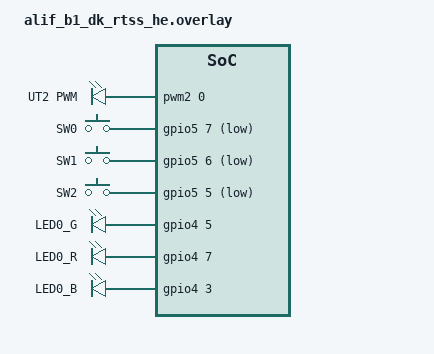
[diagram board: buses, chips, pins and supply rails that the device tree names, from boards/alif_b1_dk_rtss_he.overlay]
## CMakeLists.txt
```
# Copyright (C) 2024 Alif Semiconductor - All Rights Reserved.
# Use, distribution and modification of this code is permitted under the
# terms stated in the Alif Semiconductor Software License Agreement
#
# You should have received a copy of the Alif Semiconductor Software
# License Agreement with this file. If not, please write to:
# contact@alifsemi.com, or visit: https://alifsemi.com/license

cmake_minimum_required(VERSION 3.13.1)

if(CONFIG_CHIP_FACTORY_DATA)
set(EXTRA_DTC_OVERLAY_FILE "b1_factorydata_partition.overlay")
set(OVERLAY_CONFIG "factory_data.conf")
endif()

find_package(Zephyr REQUIRED HINTS $ENV{ZEPHYR_BASE})
project(matter-lighting-switch)

set(CHIP_ROOT ${ZEPHYR_CONNECTEDHOMEIP_MODULE_DIR})
set(ALIF_COMMON ${ZEPHYR_SDK_ALIF_MODULE_DIR}/subsys/matter)
set(MATTER_GEN_DIR ${CHIP_ROOT}/zzz_generated/)

include(${ZEPHYR_CONNECTEDHOMEIP_MODULE_DIR}/config/alif/app/enable-gnu-std.cmake)
include(${ZEPHYR_CONNECTEDHOMEIP_MODULE_DIR}/src/app/chip_data_model.cmake)

# -Wmaybe-uninitialized has too many false positives, including on std::optional
# and chip::Optional.  Make it nonfatal.
#
# See https://gcc.gnu.org/bugzilla/show_bug.cgi?id=80635
target_compile_options(app PRIVATE -Werror -Wno-error=maybe-uninitialized)

target_include_directories(app PRIVATE
                           src/include
                           ${MATTER_GEN_DIR}
                           ${MATTER_GEN_DIR}/app-common
                           ${MATTER_GEN_DIR}/light-switch-app
                           ${ALIF_COMMON}/common
                           ${ALIF_COMMON}/icd
                           ${ALIF_COMMON}/binding)

target_sources(app PRIVATE
               src/main.cpp
               src/AppTask.cpp
               src/LightSwitch.cpp
               src/ShellCommands.cpp
               src/ZclCallbacks.cpp
               ${ALIF_COMMON}/icd/icdHandler.cpp
               ${ALIF_COMMON}/binding/BindingHandler.cpp
               ${ALIF_COMMON}/common/MatterStack.cpp
               ${ALIF_COMMON}/common/MatterUi.cpp
               ${ALIF_COMMON}/common/FabricTableDelegate.cpp)
              

chip_configure_data_model(app
    INCLUDE_SERVER
    ZAP_FILE ${CMAKE_CURRENT_SOURCE_DIR}/src/light-switch-app.zap
)
```

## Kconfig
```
# Copyright(C) 2024 Alif Semiconductor - All Rights Reserved.
# Use, distribution and modification of this code is permitted under the
# terms stated in the Alif Semiconductor Software License Agreement
#
# You should have received a copy of the Alif Semiconductor Software
# License Agreement with this file.If not, please write to:
# contact @alifsemi.com, or visit : https: // alifsemi.com/license

mainmenu "Matter Alif SDK Connect Light switch Example Application with shell test commands"

# Sample configuration used for Thread networking
if NET_L2_OPENTHREAD

choice OPENTHREAD_DEVICE_TYPE
	default OPENTHREAD_FTD
endchoice

endif # NET_L2_OPENTHREAD

rsource "${ZEPHYR_CONNECTEDHOMEIP_MODULE_DIR}/config/alif/chip-module/Kconfig.features"
rsource "${ZEPHYR_CONNECTEDHOMEIP_MODULE_DIR}/config/alif/chip-module/Kconfig.defaults"
source "Kconfig.zephyr"
```

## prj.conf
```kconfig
#  Copyright (C) 2024 Alif Semiconductor - All Rights Reserved.
#  Use, distribution and modification of this code is permitted under the
#  terms stated in the Alif Semiconductor Software License Agreement
#
#  You should have received a copy of the Alif Semiconductor Software
#  License Agreement with this file. If not, please write to:
#  contact@alifsemi.com, or visit: https://alifsemi.com/license

# Enable XIP
CONFIG_XIP=y

# Enable CHIP
CONFIG_CHIP=y
CONFIG_CHIP_PROJECT_CONFIG="src/include/CHIPProjectConfig.h"
# 32772 == 0x8004 (example light-switch-app)
CONFIG_CHIP_DEVICE_PRODUCT_ID=32772
CONFIG_STD_CPP17=y

CONFIG_OPENTHREAD_THREAD_STACK_SIZE=8000
CONFIG_LOG_MODE_DEFERRED=y
CONFIG_LOG=y
CONFIG_SHELL=y
CONFIG_LOG_BUFFER_SIZE=8200

# General networking settings
CONFIG_NET_IF_MCAST_IPV6_ADDR_COUNT=14

# Enable CHIP pairing automatically on application start.
CONFIG_CHIP_ENABLE_PAIRING_AUTOSTART=y
# Matter stack will will enable 15.4 interface 
CONFIG_OPENTHREAD_MANUAL_START=y
# Enable Subscription storage and resume
# After system reset subscribe request are activated a properly automatically
CONFIG_CHIP_PERSISTENT_SUBSCRIPTIONS=y

# OpenThread configuration
CONFIG_NET_L2_OPENTHREAD=y

#Network setup
CONFIG_NET_TCP=y
CONFIG_NET_IPV6_NBR_CACHE=n
CONFIG_NET_IPV6_MLD=n
CONFIG_NET_CONFIG_NEED_IPV4=n

## Openthread parameters
CONFIG_SHELL=y
CONFIG_OPENTHREAD_SHELL=y
CONFIG_SHELL_STACK_SIZE=3072
CONFIG_OPENTHREAD_THREAD_VERSION_1_3=y
CONFIG_OPENTHREAD_FTD=y
CONFIG_OPENTHREAD_PING_SENDER=y


# Bluetooth Low Energy configuration
CONFIG_BT_DEVICE_NAME="MatterSwitch"
CONFIG_BT_DEVICE_NAME_DYNAMIC=n

# BT configuration

CONFIG_BT=y
CONFIG_BT_CENTRAL=y
CONFIG_BT_PERIPHERAL=y
CONFIG_BT_PRIVACY=n
CONFIG_BT_SMP=y
CONFIG_BT_SIGNING=y
CONFIG_BT_ATT_PREPARE_COUNT=2
CONFIG_BT_GATT_CLIENT=y
CONFIG_BT_L2CAP_DYNAMIC_CHANNEL=y
CONFIG_BT_TINYCRYPT_ECC=y
CONFIG_BT_SHELL=y
CONFIG_BT_L2CAP_TX_BUF_COUNT=4
CONFIG_BT_ID_MAX=2
CONFIG_BT_EATT=y
CONFIG_BT_L2CAP_ECRED=y
CONFIG_BT_GATT_DYNAMIC_DB=y
CONFIG_BT_FILTER_ACCEPT_LIST=y
CONFIG_BT_REMOTE_INFO=y
CONFIG_BT_REMOTE_VERSION=y
CONFIG_BT_GATT_AUTO_DISCOVER_CCC=y

CONFIG_BT_EXT_ADV=y
CONFIG_BT_EXT_ADV_LEGACY_SUPPORT=y
CONFIG_BT_PER_ADV=y
CONFIG_BT_PER_ADV_SYNC=y

CONFIG_BT_USER_DATA_LEN_UPDATE=y
CONFIG_BT_AUTO_DATA_LEN_UPDATE=y

CONFIG_BT_USER_PHY_UPDATE=y
CONFIG_BT_AUTO_PHY_UPDATE=y

# Enable the Read Client for binding
CONFIG_CHIP_ENABLE_READ_CLIENT=y

# Other settings
CONFIG_THREAD_NAME=y
CONFIG_CHIP_LIB_SHELL=y

# Flash and Settings storage configutaion
CONFIG_FLASH=y
CONFIG_FLASH_PAGE_LAYOUT=y
CONFIG_FLASH_MAP=y
CONFIG_NVS=y
CONFIG_SETTINGS=y

# Reduce application size
CONFIG_USE_SEGGER_RTT=n

# Disable GET Opt for fix duplicate implementation
CONFIG_GETOPT=n
CONFIG_IEEE802154_ALIF_AHI_MSG_LIB=y

CONFIG_LOG_RUNTIME_FILTERING=n
```

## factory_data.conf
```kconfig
# Enable Factory Data feature
CONFIG_CHIP_FACTORY_DATA=y
CONFIG_CHIP_FACTORY_DATA_BUILD=y
```

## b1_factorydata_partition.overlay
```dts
&mram_storage {
	partitions {
		/delete-node/ partition@0;
                /delete-node/ partition@10000;
                /delete-node/ partition@E2C00;
                /delete-node/ partition@1B5800;
                /delete-node/ partition@1C5800;

		slot0_partition: partition@0 {
			label = "image-0";
			reg = <0x00000000 DT_SIZE_K(1746)>;
		};

                factory_partition: partition@1B4800 {
			label = "factory-data";
			reg = <0x1B4800 0x1000>;
		};

		storage_partition: partition@1B5800 {
			label = "storage";
			reg = <0x001B5800 DT_SIZE_K(10)>;
		};
	};
};
```

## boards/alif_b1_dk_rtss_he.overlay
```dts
/* Copyright (C) 2024 Alif Semiconductor - All Rights Reserved.
 * Use, distribution and modification of this code is permitted under the
 * terms stated in the Alif Semiconductor Software License Agreement
 *
 * You should have received a copy of the Alif Semiconductor Software
 * License Agreement with this file. If not, please write to:
 * contact@alifsemi.com, or visit: https://alifsemi.com/license
 */
#include <dt-bindings/pinctrl/balletto-pinctrl.h>
#include <dt-bindings/gpio/gpio.h>
#include <zephyr/dt-bindings/input/input-event-codes.h>

/* for "buttons" node gpio5_7 & 5_6, enable software pull-up */


&{/} {
	chosen {
		zephyr,console = &uart2;
		zephyr,shell-uart = &uart2;
		zephyr,bt-uart = &uart_hci;
	};

	aliases {
		led0 = &aled1;
		led2 = &aled2;
		pwm-led0 = &pwm_ut2;
		sw0 = &button0;
		sw1 = &button1;
		sw2 = &button2;
	};
	pwmleds {
		compatible = "pwm-leds";
		pwm_ut2: pwm_ut2 {
			pwms = <&pwm2 0 PWM_MSEC(20) PWM_POLARITY_NORMAL>;
			label = "UT2 PWM";
		};
	};
	buttons {
		compatible = "gpio-keys";
		button0: button_0 {
			gpios = < &gpio5 7 GPIO_ACTIVE_LOW >;
			label = "SW0";
			zephyr,code = <INPUT_KEY_0>;
		};
		button1: button_1 {
			gpios = < &gpio5 6 GPIO_ACTIVE_LOW >;
			label = "SW1";
			zephyr,code = <INPUT_KEY_1>;
		};

		button2: button_2 {
			gpios = < &gpio5 5 GPIO_ACTIVE_LOW >;
			label = "SW2";
			zephyr,code = <INPUT_KEY_1>;
		};
	};

	leds {
		compatible = "gpio-leds";
		aled0: led_0 {
			gpios = <&gpio4 5 0>;
			label = "LED0_G";
		};

		aled1: led_1 {
			gpios = <&gpio4 7 0>;
			label = "LED0_R";
		};

		aled2: led_2 {
			gpios = <&gpio4 3 0>;
			label = "LED0_B";
		};
	};
};

&pinctrl_gpio5 {
	group0 {
		pinmux = < PIN_P5_0__GPIO >,
			 < PIN_P5_1__GPIO >,
			 < PIN_P5_2__GPIO >,
			 < PIN_P5_3__GPIO >,
			 < PIN_P5_4__GPIO >,
			 < PIN_P5_5__GPIO >,
			 < PIN_P5_6__GPIO >,
			 < PIN_P5_7__GPIO >;
		read_enable = < 0x1 >;
	};

	group1 {
		pinmux = < PIN_P5_5__GPIO >,
			 < PIN_P5_6__GPIO >,
			 < PIN_P5_7__GPIO >;
		driver_state_control = <1>;
	};
};
```

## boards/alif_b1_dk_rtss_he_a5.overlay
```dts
/* Copyright (C) 2024 Alif Semiconductor - All Rights Reserved.
 * Use, distribution and modification of this code is permitted under the
 * terms stated in the Alif Semiconductor Software License Agreement
 *
 * You should have received a copy of the Alif Semiconductor Software
 * License Agreement with this file. If not, please write to:
 * contact@alifsemi.com, or visit: https://alifsemi.com/license
 */
#include <dt-bindings/pinctrl/balletto-pinctrl.h>
#include <dt-bindings/gpio/gpio.h>
#include <zephyr/dt-bindings/input/input-event-codes.h>

/* for "buttons" node gpio5_7 & 5_6, enable software pull-up */

&{/} {
	chosen {
		zephyr,console = &uart2;
		zephyr,shell-uart = &uart2;
		zephyr,bt-uart = &uart_hci;
	};

	aliases {
		led0 = &aled1;
		led2 = &aled2;
		pwm-led0 = &pwm_ut2;
		sw0 = &button0;
		sw1 = &button1;
		sw2 = &button2;
	};

	buttons {
		compatible = "gpio-keys";
		button0: button_0 {
			gpios = < &gpio5 7 GPIO_ACTIVE_LOW >;
			label = "SW0";
			zephyr,code = <INPUT_KEY_0>;
		};
		button1: button_1 {
			gpios = < &gpio5 6 GPIO_ACTIVE_LOW >;
			label = "SW1";
			zephyr,code = <INPUT_KEY_1>;
		};

		button2: button_2 {
			gpios = < &gpio5 5 GPIO_ACTIVE_LOW >;
			label = "SW2";
			zephyr,code = <INPUT_KEY_1>;
		};
	};

	leds {
		compatible = "gpio-leds";
		aled0: led_0 {
			gpios = <&gpio4 5 0>;
			label = "LED0_G";
		};

		aled1: led_1 {
			gpios = <&gpio4 7 0>;
			label = "LED0_R";
		};

		aled2: led_2 {
			gpios = <&gpio4 3 0>;
			label = "LED0_B";
		};
	};
		pwmleds {
		compatible = "pwm-leds";
		pwm_ut2: pwm_ut2 {
			pwms = <&pwm2 0 PWM_MSEC(20) PWM_POLARITY_NORMAL>;
			label = "UT2 PWM";
		};
	};
};

&utimer2 {
	status = "okay";
	pwm2: pwm2 {
		pinctrl-0 = < &pinctrl_ut2 >;
		pinctrl-names = "default";
		status = "okay";
	};
};

&pinctrl_gpio5 {
	group0 {
		pinmux = < PIN_P5_0__GPIO >,
			 < PIN_P5_1__GPIO >,
			 < PIN_P5_2__GPIO >,
			 < PIN_P5_3__GPIO >,
			 < PIN_P5_4__GPIO >,
			 < PIN_P5_5__GPIO >,
			 < PIN_P5_6__GPIO >,
			 < PIN_P5_7__GPIO >;
		read_enable = < 0x1 >;
	};

	group1 {
		pinmux = < PIN_P5_5__GPIO >,
			 < PIN_P5_6__GPIO >,
			 < PIN_P5_7__GPIO >;
		driver_state_control = <1>;
	};
};
```

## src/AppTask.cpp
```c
/* Copyright (C) 2024 Alif Semiconductor - All Rights Reserved.
 * Use, distribution and modification of this code is permitted under the
 * terms stated in the Alif Semiconductor Software License Agreement
 *
 * You should have received a copy of the Alif Semiconductor Software
 * License Agreement with this file. If not, please write to:
 * contact@alifsemi.com, or visit: https://alifsemi.com/license
 */

#include "AppTask.h"
#include "AppConfig.h"
#include "LightSwitch.h"
#include "MatterStack.h"
#include "MatterUi.h"

#include "icdHandler.h"
#include <app/InteractionModelEngine.h>

#include <DeviceInfoProviderImpl.h>
#include <app/TestEventTriggerDelegate.h>
#include <app/clusters/identify-server/identify-server.h>
#include <app/server/OnboardingCodesUtil.h>
#include <app/server/Server.h>
#include <credentials/DeviceAttestationCredsProvider.h>
#include <credentials/examples/DeviceAttestationCredsExample.h>
#include <lib/support/CHIPMem.h>
#include <lib/support/CodeUtils.h>
#include <lib/support/SafeInt.h>
#include <platform/CHIPDeviceLayer.h>
#include <system/SystemError.h>

#include <zephyr/kernel.h>
#include <zephyr/logging/log.h>

LOG_MODULE_DECLARE(app, CONFIG_CHIP_APP_LOG_LEVEL);

using namespace ::chip;
using namespace ::chip::app;
using namespace ::chip::Credentials;
using namespace ::chip::DeviceLayer;

namespace
{
constexpr EndpointId kLightDimmerSwitchEndpointId = 1;
constexpr EndpointId kLightGenericSwitchEndpointId = 2;
constexpr EndpointId kLightEndpointId = 1;

constexpr int kAppEventQueueSize = 10;

K_MSGQ_DEFINE(sAppEventQueue, sizeof(AppEvent), kAppEventQueueSize, alignof(AppEvent));

Identify sIdentify = {kLightEndpointId, AppTask::IdentifyStartHandler, AppTask::IdentifyStopHandler,
		      Clusters::Identify::IdentifyTypeEnum::kVisibleIndicator};
// Identify sIdentifyGen = {kLightGenericSwitchEndpointId, AppTask::IdentifyStartHandler, AppTask::IdentifyStopHandler,
// 			Clusters::Identify::IdentifyTypeEnum::kVisibleIndicator};

chip::DeviceLayer::DeviceInfoProviderImpl gExampleDeviceInfoProvider;

CHIP_ERROR DevInit()
{
	LightSwitch::GetInstance().Init(kLightDimmerSwitchEndpointId, kLightGenericSwitchEndpointId);
	gExampleDeviceInfoProvider.SetStorageDelegate(
		&Server::GetInstance().GetPersistentStorage());
	chip::DeviceLayer::SetDeviceInfoProvider(&gExampleDeviceInfoProvider);
	MatterUi::Instance().Init(AppTask::ButtonUpdateHandler);
	return CHIP_NO_ERROR;
}
} // namespace

void AppTask::ButtonUpdateHandler(uint32_t button_state, uint32_t has_changed)
{
	if (has_changed & 1) {
		/* Press Button Update  toggle led when state goes to 0*/
		if (!(button_state & 1)) {
			/* Toggle Light onOff server state */
			LightSwitch::GetInstance().LightOnOffServerControl(LightSwitch::Action::Toggle);
			LightSwitch::GetInstance().LightControl(LightSwitch::Action::Toggle);
		}

	} else if (has_changed & 2) {
		/* Generic functional button */
		if (button_state & 2) {
			LOG_INF("SW1 press");
			LightSwitch::GetInstance().GenericSwitchInitialPress();
		} else {
			LOG_INF("SW1 released");
			LightSwitch::GetInstance().GenericSwitchReleasePress();
		}
	}  else if (has_changed & 4) {
		/* Factory Reset user Button */
		if (button_state & 4) {
			LOG_INF("Factoryreset button pressed");
		} else {
			LOG_INF("Factoryreset button released");
		}
		MatterUi::Instance().AppFactoryResetEventTrig();
	}
}

void AppTask::PostEvent(AppEvent * aEvent)
{
    if (!aEvent) {
        return;
    }
        
    if (k_msgq_put(&sAppEventQueue, aEvent, K_NO_WAIT) != 0) {
        LOG_INF("PostEvent fail");
    }
}

void AppTask::DispatchEvent(const AppEvent * aEvent)
{
    if (!aEvent) {
        return;
    }
    if (aEvent->Handler) {
        aEvent->Handler(aEvent);
    } else {
        LOG_INF("Dropping event without handler");
    }
}

void AppTask::GetEvent(AppEvent * aEvent)
{
    k_msgq_get(&sAppEventQueue, aEvent, K_FOREVER);
}

void AppTask::IdentifyStartHandler(Identify *)
{
	AppEvent event;

	event.Type = AppEventType::IdentifyStart;
	event.Handler = [](const AppEvent *) {
		LOG_INF("Identify start");
		MatterStack::Instance().IdentifyLedState(true);
	};
	PostEvent(&event);
}

void AppTask::IdentifyStopHandler(Identify *)
{
	AppEvent event;

	event.Type = AppEventType::IdentifyStop;
	event.Handler = [](const AppEvent *) {
		LOG_INF("Identify stop");
		MatterStack::Instance().IdentifyLedState(false);
	};
	PostEvent(&event);
}

void AppTask::StartBLEAdvertisementHandler(const AppEvent *)
{
	if (Server::GetInstance().GetFabricTable().FabricCount() != 0) {
		LOG_INF("Matter service BLE advertising not started - device is already "
			"commissioned");
		return;
	}

	if (ConnectivityMgr().IsBLEAdvertisingEnabled()) {
		LOG_INF("BLE advertising is already enabled");
		return;
	}

	if (Server::GetInstance().GetCommissioningWindowManager().OpenBasicCommissioningWindow() !=
	    CHIP_NO_ERROR) {
		LOG_ERR("OpenBasicCommissioningWindow() failed");
	}
}

CHIP_ERROR AppTask::Init()
{
	/* Initialize Matter stack */
	ReturnErrorOnFailure(MatterStack::Instance().matter_stack_init(DevInit));

	chip::app::InteractionModelEngine::GetInstance()->RegisterReadHandlerAppCallback(
		&ICDHandler::Instance());

	/* Start Matter sheduler */
	ReturnErrorOnFailure(MatterStack::Instance().matter_stack_start());

	return CHIP_NO_ERROR;
}

CHIP_ERROR AppTask::StartApp()
{
	ReturnErrorOnFailure(Init());

	AppEvent event = {};

	while (true) {
		GetEvent(&event);
		DispatchEvent(&event);
	}

	return CHIP_NO_ERROR;
}
```

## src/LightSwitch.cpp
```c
/* Copyright (C) 2024 Alif Semiconductor - All Rights Reserved.
 * Use, distribution and modification of this code is permitted under the
 * terms stated in the Alif Semiconductor Software License Agreement
 *
 * You should have received a copy of the Alif Semiconductor Software
 * License Agreement with this file. If not, please write to:
 * contact@alifsemi.com, or visit: https://alifsemi.com/license
 */

#include "LightSwitch.h"
#include "AppEvent.h"
#include "BindingHandler.h"
#include "ShellCommands.h"

#include <app/server/Server.h>
#include <app/util/binding-table.h>
#include <controller/InvokeInteraction.h>
#include <app/clusters/switch-server/switch-server.h>
#include <app/clusters/on-off-server/on-off-server.h>

#include <app-common/zap-generated/attributes/Accessors.h>
#include <zephyr/logging/log.h>
LOG_MODULE_DECLARE(app, CONFIG_CHIP_APP_LOG_LEVEL);

using namespace chip;
using namespace chip::app;
using namespace chip::app::Clusters;

void LightSwitch::Init(chip::EndpointId aLightDimmerSwitchEndpoint, chip::EndpointId aLightGenericSwitchEndpointId)
{
	BindingHandler::GetInstance().Init();

	/* Enable shell commands */
	SwitchCommands::RegisterSwitchCommands();
	mLightSwitchEndpoint = aLightDimmerSwitchEndpoint;
	mLightGenericSwitchEndpointId = aLightGenericSwitchEndpointId;	
}

void LightSwitch::LightOnOffServerControl(Action mAction)
{
	chip::CommandId command;

	switch (mAction) {
	case Action::Toggle:
		command = Clusters::OnOff::Commands::Toggle::Id;
		break;
	case Action::On:
		command = Clusters::OnOff::Commands::On::Id;
		break;

	default:
		command = Clusters::OnOff::Commands::Off::Id;
		break;
	}

	OnOffServer::Instance().setOnOffValue(mLightSwitchEndpoint, command, false);
}

void LightSwitch::LightControl(Action mAction)
{
	BindingHandler::BindingData *data = Platform::New<BindingHandler::BindingData>();
	if (data) {
		data->EndpointId = mLightSwitchEndpoint;
		data->ClusterId = Clusters::OnOff::Id;
		data->BindCommandFunc = LightSwitchChangedHandler;
		switch (mAction) {
		case Action::Toggle:
			data->CommandId = Clusters::OnOff::Commands::Toggle::Id;
			break;
		case Action::On:
			data->CommandId = Clusters::OnOff::Commands::On::Id;
			break;
		case Action::Off:
			data->CommandId = Clusters::OnOff::Commands::Off::Id;
			break;
		default:
			Platform::Delete(data);
			return;
		}
		data->IsGroup = BindingHandler::GetInstance().IsGroupBound();
		BindingHandler::SheduleClusterAction(data);
	}
}

void LightSwitch::LightDimmControl(uint16_t dimmLevel)
{

	BindingHandler::BindingData *data = Platform::New<BindingHandler::BindingData>();
	if (data) {
		data->EndpointId = mLightSwitchEndpoint;
		data->CommandId = Clusters::LevelControl::Commands::MoveToLevel::Id;
		data->ClusterId = Clusters::LevelControl::Id;
		data->BindCommandFunc = LightSwitchChangedHandler;

		if (dimmLevel > kMaximumBrightness) {
			dimmLevel = kMaximumBrightness;
		}
		data->Value = static_cast<uint8_t>(dimmLevel);
		data->IsGroup = BindingHandler::GetInstance().IsGroupBound();
		BindingHandler::SheduleClusterAction(data);
	}
}

void LightSwitch::OnOffProcessCommand(CommandId aCommandId, const EmberBindingTableEntry &aBinding,
				      OperationalDeviceProxy *aDevice,
				      BindingHandler::BindingData &bindingData)
{
	CHIP_ERROR ret = CHIP_NO_ERROR;

	auto onSuccess = [dataPointer = Platform::New<BindingHandler::BindingData>(bindingData)](
				 const ConcreteCommandPath &commandPath, const StatusIB &status,
				 const auto &dataResponse) {
		BindingHandler::BindCommandSucces(dataPointer);
	};

	auto onFailure = [dataPointer = Platform::New<BindingHandler::BindingData>(bindingData)](
				 CHIP_ERROR aError) {
		BindingHandler::BindCommandFailure(dataPointer, aError);
	};

	/* Check that connection is ready for active device */
	if (aDevice) {
		VerifyOrDie(aDevice->ConnectionReady());
	}

	switch (aCommandId) {
	case Clusters::OnOff::Commands::Toggle::Id:
		Clusters::OnOff::Commands::Toggle::Type toggleCommand;
		if (aDevice) {
			ret = Controller::InvokeCommandRequest(
				aDevice->GetExchangeManager(), aDevice->GetSecureSession().Value(),
				aBinding.remote, toggleCommand, onSuccess, onFailure);
		} else {

			Messaging::ExchangeManager &exchangeMgr =
				Server::GetInstance().GetExchangeManager();
			ret = Controller::InvokeGroupCommandRequest(
				&exchangeMgr, aBinding.fabricIndex, aBinding.groupId,
				toggleCommand);
		}
		break;

	case Clusters::OnOff::Commands::On::Id:
		Clusters::OnOff::Commands::On::Type onCommand;
		if (aDevice) {
			ret = Controller::InvokeCommandRequest(
				aDevice->GetExchangeManager(), aDevice->GetSecureSession().Value(),
				aBinding.remote, onCommand, onSuccess, onFailure);
		} else {
			Messaging::ExchangeManager &exchangeMgr =
				Server::GetInstance().GetExchangeManager();
			ret = Controller::InvokeGroupCommandRequest(
				&exchangeMgr, aBinding.fabricIndex, aBinding.groupId, onCommand);
		}
		break;

	case Clusters::OnOff::Commands::Off::Id:
		Clusters::OnOff::Commands::Off::Type offCommand;
		if (aDevice) {
			ret = Controller::InvokeCommandRequest(
				aDevice->GetExchangeManager(), aDevice->GetSecureSession().Value(),
				aBinding.remote, offCommand, onSuccess, onFailure);
		} else {
			Messaging::ExchangeManager &exchangeMgr =
				Server::GetInstance().GetExchangeManager();
			ret = Controller::InvokeGroupCommandRequest(
				&exchangeMgr, aBinding.fabricIndex, aBinding.groupId, offCommand);
		}

		break;
	default:
		LOG_DBG("Invalid binding command data - commandId is not supported");
		break;
	}
	if (CHIP_NO_ERROR != ret) {
		LOG_ERR("Invoke OnOff Command Request ERROR: %s", ErrorStr(ret));
	}
}

void LightSwitch::LevelControlProcessCommand(CommandId aCommandId,
					     const EmberBindingTableEntry &aBinding,
					     OperationalDeviceProxy *aDevice,
					     BindingHandler::BindingData &bindingData)
{
	auto onSuccess = [dataPointer = Platform::New<BindingHandler::BindingData>(bindingData)](
				 const ConcreteCommandPath &commandPath, const StatusIB &status,
				 const auto &dataResponse) {
		BindingHandler::BindCommandSucces(dataPointer);
	};

	auto onFailure = [dataPointer = Platform::New<BindingHandler::BindingData>(bindingData)](
				 CHIP_ERROR aError) {
		BindingHandler::BindCommandFailure(dataPointer, aError);
	};

	CHIP_ERROR ret = CHIP_NO_ERROR;

	/* Check that connection is ready for active device */
	if (aDevice) {
		VerifyOrDie(aDevice->ConnectionReady());
	}

	switch (aCommandId) {
	case Clusters::LevelControl::Commands::MoveToLevel::Id: {
		Clusters::LevelControl::Commands::MoveToLevel::Type moveToLevelCommand;
		moveToLevelCommand.level = bindingData.Value;
		if (aDevice) {
			ret = Controller::InvokeCommandRequest(
				aDevice->GetExchangeManager(), aDevice->GetSecureSession().Value(),
				aBinding.remote, moveToLevelCommand, onSuccess, onFailure);
		} else {
			Messaging::ExchangeManager &exchangeMgr =
				Server::GetInstance().GetExchangeManager();
			ret = Controller::InvokeGroupCommandRequest(
				&exchangeMgr, aBinding.fabricIndex, aBinding.groupId,
				moveToLevelCommand);
		}
	} break;
	default:
		LOG_DBG("Invalid binding command data - commandId is not supported");
		break;
	}
	if (CHIP_NO_ERROR != ret) {
		LOG_ERR("Invoke Group Command Request ERROR: %s", ErrorStr(ret));
	}
}

void LightSwitch::LightSwitchChangedHandler(const EmberBindingTableEntry &binding,
					    OperationalDeviceProxy *deviceProxy,
					    BindingHandler::BindingData &bindingData)
{
	OperationalDeviceProxy *temp_proxy;
	chip::ClusterId ClusterId = bindingData.ClusterId;

	if (binding.type == MATTER_MULTICAST_BINDING && bindingData.IsGroup) {
		/* Multicast should not use device proxy */
		temp_proxy = nullptr;
	} else if (binding.type == MATTER_UNICAST_BINDING && !bindingData.IsGroup) {
		temp_proxy = deviceProxy;
	} else {
		ClusterId = 0;
	}

	switch (ClusterId) {
	case Clusters::OnOff::Id:
		OnOffProcessCommand(bindingData.CommandId, binding, temp_proxy, bindingData);
		break;
	case Clusters::LevelControl::Id:
		LevelControlProcessCommand(bindingData.CommandId, binding, temp_proxy, bindingData);
		break;
	default:
		LOG_ERR("Invalid binding type %d command data", binding.type);
		break;
	}
}

void LightSwitch::GenericSwitchInitialPress()
{
    DeviceLayer::SystemLayer().ScheduleLambda([this] {
        // Press moves Position from 0 (idle) to 1 (press)
        uint8_t newPosition = 1;

        Clusters::Switch::Attributes::CurrentPosition::Set(mLightGenericSwitchEndpointId, newPosition);
        // InitialPress event takes newPosition as event data
        Clusters::SwitchServer::Instance().OnInitialPress(mLightGenericSwitchEndpointId, newPosition);
    });
}

void LightSwitch::GenericSwitchReleasePress()
{
    DeviceLayer::SystemLayer().ScheduleLambda([this] {
        // Release moves Position from 1 (press) to 0 (idle)
        uint8_t previousPosition = 1;
        uint8_t newPosition      = 0;

        Clusters::Switch::Attributes::CurrentPosition::Set(mLightGenericSwitchEndpointId, newPosition);
        // ShortRelease event takes previousPosition as event data
        Clusters::SwitchServer::Instance().OnShortRelease(mLightGenericSwitchEndpointId, previousPosition);
    });
}
```

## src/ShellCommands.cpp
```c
/* Copyright (C) 2024 Alif Semiconductor - All Rights Reserved.
 * Use, distribution and modification of this code is permitted under the
 * terms stated in the Alif Semiconductor Software License Agreement
 *
 * You should have received a copy of the Alif Semiconductor Software
 * License Agreement with this file. If not, please write to:
 * contact@alifsemi.com, or visit: https://alifsemi.com/license
 */

#include "ShellCommands.h"
#include "MatterStack.h"
#include "LightSwitch.h"
#include <platform/CHIPDeviceLayer.h>

#include "BindingHandler.h"

using namespace chip;
using namespace chip::app;

namespace SwitchCommands
{
using Shell::Engine;
using Shell::shell_command_t;
using Shell::streamer_get;
using Shell::streamer_printf;

static CHIP_ERROR LightComandHandler(int argc, char **argv)
{
	if (argc != 1) {
		streamer_printf(SwitchCommands::streamer_get(), "Usage: light [on|off|toggle]");
	}

	if (strcmp(argv[0], "on") == 0) {
		LightSwitch::GetInstance().LightControl(LightSwitch::Action::On);
	} else if (strcmp(argv[0], "off") == 0) {
		LightSwitch::GetInstance().LightControl(LightSwitch::Action::Off);
	} else if (strcmp(argv[0], "toggle") == 0) {
		LightSwitch::GetInstance().LightControl(LightSwitch::Action::Toggle);
	} else {
		streamer_printf(SwitchCommands::streamer_get(), "Usage: light [on|off|toggle]");
	}

	return CHIP_NO_ERROR;
}

static CHIP_ERROR BindTablePrint(int argc, char **argv)
{
	BindingHandler::GetInstance().PrintTable();
	MatterStack::Instance().matter_stack_fabric_print();
	return CHIP_NO_ERROR;
}

void RegisterSwitchCommands(void)
{
	static const shell_command_t sLightCommand = {
		LightComandHandler, "light", "Light test commands. Usage: light [on|off|toggle]"};
	static const shell_command_t sTableCommand = {BindTablePrint, "table",
						      "Print light binding table and Fabric table user data. Usage: table"};

	Engine::Root().RegisterCommands(&sLightCommand, 1);
	Engine::Root().RegisterCommands(&sTableCommand, 1);
	return;
}

} // namespace SwitchCommands
```

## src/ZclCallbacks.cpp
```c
/* Copyright (C) 2025 Alif Semiconductor - All Rights Reserved.
 * Use, distribution and modification of this code is permitted under the
 * terms stated in the Alif Semiconductor Software License Agreement
 *
 * You should have received a copy of the Alif Semiconductor Software
 * License Agreement with this file. If not, please write to:
 * contact@alifsemi.com, or visit: https://alifsemi.com/license
 */

#include "AppTask.h"
#include "MatterStack.h"

#include <app-common/zap-generated/attributes/Accessors.h>
#include <app-common/zap-generated/ids/Attributes.h>
#include <app-common/zap-generated/ids/Clusters.h>
#include <app/ConcreteAttributePath.h>

#include <zephyr/logging/log.h>

LOG_MODULE_DECLARE(app, CONFIG_CHIP_APP_LOG_LEVEL);

using namespace chip;
using namespace chip::app::Clusters;
using namespace chip::app::Clusters::OnOff;

void MatterPostAttributeChangeCallback(const chip::app::ConcreteAttributePath &attributePath,
				       uint8_t type, uint16_t size, uint8_t *value)
{
	ClusterId clusterId = attributePath.mClusterId;
	AttributeId attributeId = attributePath.mAttributeId;

	if (clusterId == OnOff::Id && attributeId == OnOff::Attributes::OnOff::Id) {
		MatterStack::Instance().StatusLedBlink();
		LOG_INF("Cluster OnOff: attribute OnOff set to %u", *value);
	}
}
```
